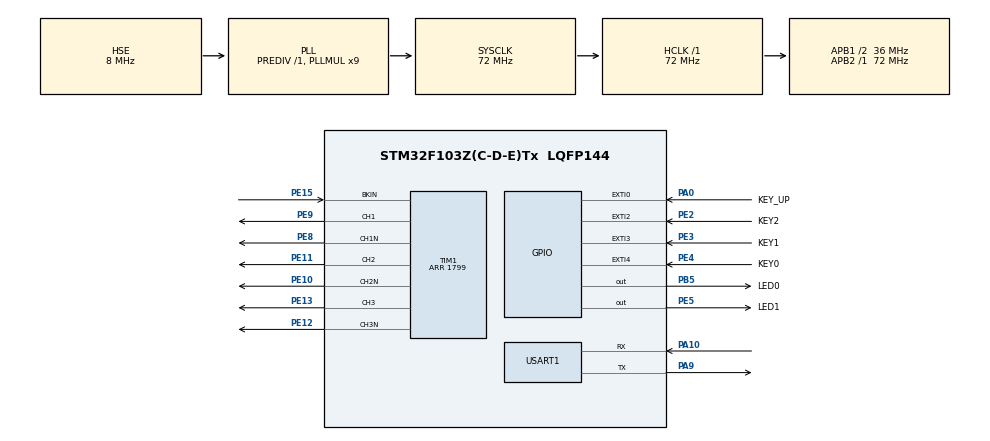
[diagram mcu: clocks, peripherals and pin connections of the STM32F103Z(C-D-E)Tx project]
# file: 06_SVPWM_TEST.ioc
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Dma.Request0=USART1_TX
Dma.Request1=USART1_RX
Dma.USART1_RX.1.Direction=DMA_PERIPH_TO_MEMORY
Dma.USART1_RX.1.Instance=DMA1_Channel5
Dma.USART1_RX.1.MemDataAlignment=DMA_MDATAALIGN_BYTE
Dma.USART1_RX.1.MemInc=DMA_MINC_ENABLE
Dma.USART1_RX.1.Mode=DMA_NORMAL
Dma.USART1_RX.1.PeriphDataAlignment=DMA_PDATAALIGN_BYTE
Dma.USART1_RX.1.PeriphInc=DMA_PINC_DISABLE
Dma.USART1_RX.1.Priority=DMA_PRIORITY_LOW
Dma.USART1_TX.0.Direction=DMA_MEMORY_TO_PERIPH
Dma.USART1_TX.0.Instance=DMA1_Channel4
Dma.USART1_TX.0.MemDataAlignment=DMA_MDATAALIGN_BYTE
Dma.USART1_TX.0.MemInc=DMA_MINC_ENABLE
Dma.USART1_TX.0.Mode=DMA_NORMAL
Dma.USART1_TX.0.PeriphDataAlignment=DMA_PDATAALIGN_BYTE
Dma.USART1_TX.0.PeriphInc=DMA_PINC_DISABLE
Dma.USART1_TX.0.Priority=DMA_PRIORITY_LOW
Mcu.Family=STM32F1
Mcu.Name=STM32F103Z(C-D-E)Tx
Mcu.Package=LQFP144
NVIC.DMA1_Channel4_IRQn=true\:0\:0\:false\:false\:true\:false\:true\:true
NVIC.DMA1_Channel5_IRQn=true\:0\:0\:false\:false\:true\:false\:true\:true
NVIC.EXTI0_IRQn=true\:4\:0\:true\:false\:true\:true\:true\:true
NVIC.EXTI2_IRQn=true\:4\:0\:true\:false\:true\:true\:true\:true
NVIC.EXTI3_IRQn=true\:4\:0\:true\:false\:true\:true\:true\:true
NVIC.EXTI4_IRQn=true\:4\:0\:true\:false\:true\:true\:true\:true
NVIC.PriorityGroup=NVIC_PRIORITYGROUP_4
NVIC.TIM1_BRK_IRQn=true\:0\:0\:false\:false\:true\:true\:true\:true
NVIC.TIM6_IRQn=true\:0\:0\:true\:false\:true\:true\:true\:true
NVIC.USART1_IRQn=true\:0\:0\:false\:false\:true\:true\:true\:true
OSC_IN.Mode=HSE-External-Oscillator
OSC_IN.Signal=RCC_OSC_IN
OSC_OUT.Mode=HSE-External-Oscillator
OSC_OUT.Signal=RCC_OSC_OUT
PA0-WKUP.GPIO_Label=KEY_UP
PA0-WKUP.GPIO_ModeDefaultEXTI=GPIO_MODE_IT_RISING_FALLING
PA0-WKUP.GPIO_PuPd=GPIO_PULLDOWN
PA0-WKUP.Signal=GPXTI0
PA10.Mode=Asynchronous
PA10.Signal=USART1_RX
PA13.Mode=Serial_Wire
PA13.Signal=SYS_JTMS-SWDIO
PA14.Mode=Serial_Wire
PA14.Signal=SYS_JTCK-SWCLK
PA9.Mode=Asynchronous
PA9.Signal=USART1_TX
PB5.GPIO_Label=LED0
PB5.GPIO_PuPd=GPIO_NOPULL
PB5.PinState=GPIO_PIN_SET
PB5.Signal=GPIO_Output
PC14-OSC32_IN.Mode=LSE-External-Oscillator
PC14-OSC32_IN.Signal=RCC_OSC32_IN
PC15-OSC32_OUT.Mode=LSE-External-Oscillator
PC15-OSC32_OUT.Signal=RCC_OSC32_OUT
PE10.Mode=PWM Generation2 CH2 CH2N
PE10.Signal=TIM1_CH2N
PE11.Signal=S_TIM1_CH2
PE12.Mode=PWM Generation3 CH3 CH3N
PE12.Signal=TIM1_CH3N
PE13.Signal=S_TIM1_CH3
PE15.Mode=Activate-Break-Input
PE15.Signal=TIM1_BKIN
PE2.GPIO_Label=KEY2
PE2.GPIO_ModeDefaultEXTI=GPIO_MODE_IT_RISING_FALLING
PE2.GPIO_PuPd=GPIO_PULLUP
PE2.Signal=GPXTI2
PE3.GPIO_Label=KEY1
PE3.GPIO_ModeDefaultEXTI=GPIO_MODE_IT_RISING_FALLING
PE3.GPIO_PuPd=GPIO_PULLUP
PE3.Signal=GPXTI3
PE4.GPIO_Label=KEY0
PE4.GPIO_ModeDefaultEXTI=GPIO_MODE_IT_RISING_FALLING
PE4.GPIO_PuPd=GPIO_PULLUP
PE4.Signal=GPXTI4
PE5.GPIO_Label=LED1
PE5.PinState=GPIO_PIN_SET
PE5.Signal=GPIO_Output
PE8.Mode=PWM Generation1 CH1 CH1N
PE8.Signal=TIM1_CH1N
PE9.Signal=S_TIM1_CH1
ProjectManager.HeapSize=0x200
ProjectManager.StackSize=0x400
ProjectManager.TargetToolchain=MDK-ARM V5
RCC.AHBFreq_Value=72000000
RCC.APB1CLKDivider=RCC_HCLK_DIV2
RCC.APB1Freq_Value=36000000
RCC.APB1TimFreq_Value=72000000
RCC.APB2Freq_Value=72000000
RCC.APB2TimFreq_Value=72000000
RCC.HCLKFreq_Value=72000000
RCC.PLLMUL=RCC_PLL_MUL9
RCC.PLLSourceVirtual=RCC_PLLSOURCE_HSE
RCC.SYSCLKFreq_VALUE=72000000
RCC.SYSCLKSource=RCC_SYSCLKSOURCE_PLLCLK
RCC.USBFreq_Value=72000000
SH.S_TIM1_CH1.0=TIM1_CH1,PWM Generation1 CH1 CH1N
SH.S_TIM1_CH2.0=TIM1_CH2,PWM Generation2 CH2 CH2N
SH.S_TIM1_CH3.0=TIM1_CH3,PWM Generation3 CH3 CH3N
TIM1.AutoReloadPreload=TIM_AUTORELOAD_PRELOAD_DISABLE
TIM1.BreakPolarity=TIM_BREAKPOLARITY_HIGH
TIM1.BreakState=TIM_BREAK_DISABLE
TIM1.Channel-PWM\ Generation1\ CH1\ CH1N=TIM_CHANNEL_1
TIM1.Channel-PWM\ Generation2\ CH2\ CH2N=TIM_CHANNEL_2
TIM1.Channel-PWM\ Generation3\ CH3\ CH3N=TIM_CHANNEL_3
TIM1.CounterMode=TIM_COUNTERMODE_CENTERALIGNED1
TIM1.DeadTime=100
TIM1.OCIdleState_1=TIM_OCIDLESTATE_SET
TIM1.OCIdleState_2=TIM_OCIDLESTATE_SET
TIM1.OCIdleState_3=TIM_OCIDLESTATE_SET
TIM1.OffStateIDLEMode=TIM_OSSI_DISABLE
TIM1.OffStateRunMode=TIM_OSSR_DISABLE
TIM1.Period=1799
TIM1.TIM_MasterOutputTrigger=TIM_TRGO_OC4REF
TIM6.AutoReloadPreload=TIM_AUTORELOAD_PRELOAD_ENABLE
TIM6.Period=9999
TIM6.Prescaler=71
TIM6.TIM_MasterOutputTrigger=TIM_TRGO_UPDATE
USART1.VirtualMode=VM_ASYNC
VP_TIM1_VS_ClockSourceINT.Mode=Internal
VP_TIM6_VS_ClockSourceINT.Mode=Enable_Timer
board=custom

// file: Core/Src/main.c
/* USER CODE BEGIN Header */
/**
  ******************************************************************************
  * @file           : main.c
  * @brief          : Main program body
  ******************************************************************************
  * @attention
  *
  * Copyright (c) 2025 STMicroelectronics.
  * All rights reserved.
  *
  * This software is licensed under terms that can be found in the LICENSE file
  * in the root directory of this software component.
  * If no LICENSE file comes with this software, it is provided AS-IS.
  *
  ******************************************************************************
  */
/* USER CODE END Header */
#include "main.h"
#include "dma.h"
#include "tim.h"
#include "usart.h"
#include "gpio.h"

/* USER CODE BEGIN Includes */
#include "debug.h"
#include "foc_motor_control.h"
/* USER CODE END Includes */

/* USER CODE BEGIN PV */
volatile uint8_t TaskFlag = 0;
/* USER CODE END PV */

void SystemClock_Config(void);

int main(void)
{

  /* MCU Configuration--------------------------------------------------------*/

  /* Reset of all peripherals, Initializes the Flash interface and the Systick. */
  HAL_Init();

  /* Configure the system clock */
  SystemClock_Config();

  /* Initialize all configured peripherals */
  MX_GPIO_Init();
  MX_DMA_Init();
  MX_TIM6_Init();
  MX_USART1_UART_Init();
  MX_TIM1_Init();
  /* USER CODE BEGIN 2 */
  __HAL_TIM_ENABLE(&htim6);
  __HAL_TIM_ENABLE_IT(&htim6, TIM_IT_UPDATE);
  HAL_TIM_PWM_Start (&htim1, TIM_CHANNEL_1);
  HAL_TIM_PWM_Start (&htim1, TIM_CHANNEL_2);
  HAL_TIM_PWM_Start (&htim1, TIM_CHANNEL_3);
  HAL_TIMEx_PWMN_Start(&htim1, TIM_CHANNEL_1);
  HAL_TIMEx_PWMN_Start(&htim1, TIM_CHANNEL_2);
  HAL_TIMEx_PWMN_Start(&htim1, TIM_CHANNEL_3);
  __HAL_TIM_SET_COMPARE(&htim1, TIM_CHANNEL_1, 500);
  __HAL_TIM_SET_COMPARE(&htim1, TIM_CHANNEL_2, 1000);
  __HAL_TIM_SET_COMPARE(&htim1, TIM_CHANNEL_3, 1500);
  /* USER CODE END 2 */

  /* Infinite loop */
  /* USER CODE BEGIN WHILE */
  while (1)
  {
    if (TaskFlag == 1)
    {
      TaskFlag = 0;
      // FOC_ClarkePark_Debug();
      // FOC_InverseParkInverseClarke_Debug();
      FOC_SVPWM_Debug();
      HAL_GPIO_TogglePin(LED0_GPIO_Port, LED0_Pin);
      HAL_GPIO_TogglePin(LED1_GPIO_Port, LED1_Pin);
    }
    /* USER CODE END WHILE */

  }
}

void SystemClock_Config(void)
{
  RCC_OscInitTypeDef RCC_OscInitStruct = {0};
  RCC_ClkInitTypeDef RCC_ClkInitStruct = {0};

  /** Initializes the RCC Oscillators according to the specified parameters
  * in the RCC_OscInitTypeDef structure.
  */
  RCC_OscInitStruct.OscillatorType = RCC_OSCILLATORTYPE_HSE;
  RCC_OscInitStruct.HSEState = RCC_HSE_ON;
  RCC_OscInitStruct.HSEPredivValue = RCC_HSE_PREDIV_DIV1;
  RCC_OscInitStruct.HSIState = RCC_HSI_ON;
  RCC_OscInitStruct.PLL.PLLState = RCC_PLL_ON;
  RCC_OscInitStruct.PLL.PLLSource = RCC_PLLSOURCE_HSE;
  RCC_OscInitStruct.PLL.PLLMUL = RCC_PLL_MUL9;
  if (HAL_RCC_OscConfig(&RCC_OscInitStruct) != HAL_OK)
  {
    Error_Handler();
  }

  /** Initializes the CPU, AHB and APB buses clocks
  */
  RCC_ClkInitStruct.ClockType = RCC_CLOCKTYPE_HCLK|RCC_CLOCKTYPE_SYSCLK
                              |RCC_CLOCKTYPE_PCLK1|RCC_CLOCKTYPE_PCLK2;
  RCC_ClkInitStruct.SYSCLKSource = RCC_SYSCLKSOURCE_PLLCLK;
  RCC_ClkInitStruct.AHBCLKDivider = RCC_SYSCLK_DIV1;
  RCC_ClkInitStruct.APB1CLKDivider = RCC_HCLK_DIV2;
  RCC_ClkInitStruct.APB2CLKDivider = RCC_HCLK_DIV1;

  if (HAL_RCC_ClockConfig(&RCC_ClkInitStruct, FLASH_LATENCY_2) != HAL_OK)
  {
    Error_Handler();
  }
}

void Error_Handler(void)
{
  __disable_irq();
  while (1)
  {
  }
}
